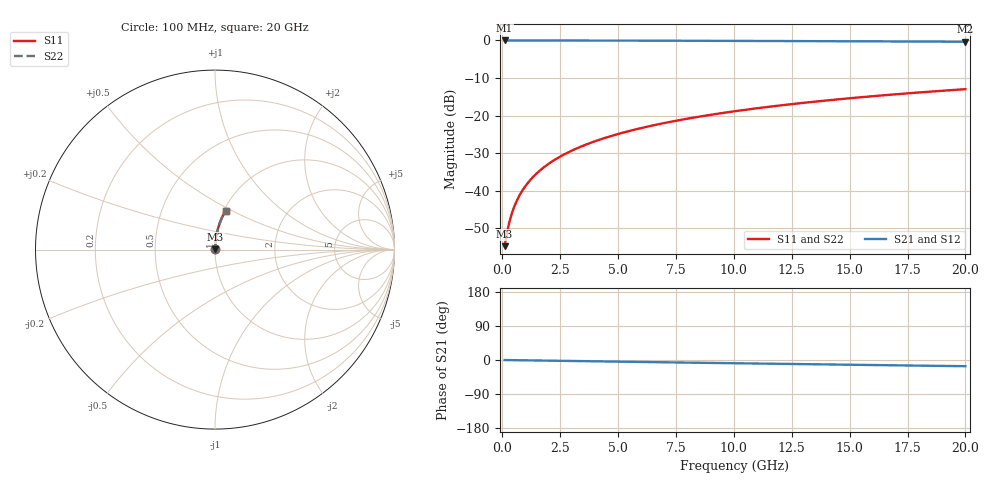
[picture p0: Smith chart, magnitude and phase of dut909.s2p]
! Touchstone file exported from HFSS 2024.1.0
!  File:  C:/UserFiles/LocalFiles/RDL_TSV_Batchsim/temp_RDL_top_909_1779935989.aedt
!  Generated:  10:43:10 AM May 28, 2026
!  Design:  RDL_top
!  Project:  temp_RDL_top_909_1779935989
!  Setup:  Setup1
!  Solution:  Sweep
! Variables:
!  dtsv = 10.80580581um
!  hbump = 3um
!  htsv = 87.32um
!  ldown = 100um
!  lrdl = 160.5um
!  p = 40
!  p1 = 51.88um
!  rhole = 1um
!  t = 450um
!  tdown = 3.915915916um
!  trdl = 4.17um
!  wdown = 15.38538539um
!  wrdl = 10.64um
# GHz S MA R 50.000000
! Terminal data exported
! Port[1] = Box2_T1
! Port[2] = Box2_T2
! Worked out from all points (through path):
!   200 points, 100 MHz to 20 GHz, reference 50 ohm
!   highest |S21| = -0.01 dB at 100 MHz (marker M1); lowest = -0.4 dB at 20 GHz (marker M2)
!   group delay of S21, straight-line fit = 2.27 ps
!   lowest |S11| = -54.8 dB at 100 MHz (marker M3), VSWR 1.00, Z = 50.1 + j0.116 ohm
!   |S11| at or under -10 dB: start of sweep to end of sweep
!   |S22| runs from -54.8 to -13.0 dB; largest |S21 - S12| = 5.1e-15
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0.1  0.00182 39.6  0.9986 -0.1  0.9986 -0.1  0.00182 39.6
! Gamma 0 0 0 0
! Port Impedance 50 0 50 0
0.2  0.002718 58.5  0.9986 -0.2  0.9986 -0.2  0.002718 58.5
0.3  0.003754 67.3  0.9985 -0.3  0.9985 -0.3  0.003754 67.3
0.4  0.004834 72.2  0.9985 -0.4  0.9985 -0.4  0.004834 72.2
0.5  0.005932 75.3  0.9985 -0.4  0.9985 -0.4  0.005932 75.3
0.6  0.007037 77.4  0.9984 -0.5  0.9984 -0.5  0.007037 77.4
0.8  0.009262 80.1  0.9984 -0.7  0.9984 -0.7  0.009262 80.1
1.1  0.01262 82.3  0.9983 -1.0  0.9983 -1.0  0.01262 82.3
1.5  0.01711 83.8  0.9981 -1.3  0.9981 -1.3  0.01711 83.8
1.8  0.02049 84.4  0.9979 -1.6  0.9979 -1.6  0.02049 84.4
2.1  0.02388 84.8  0.9977 -1.9  0.9977 -1.9  0.02388 84.8
2.7  0.03066 85.2  0.9972 -2.4  0.9972 -2.4  0.03066 85.2
3.5  0.03971 85.3  0.9964 -3.1  0.9964 -3.1  0.03971 85.3
4.2  0.04764 85.2  0.9956 -3.7  0.9956 -3.7  0.04764 85.2
5  0.05671 85.0  0.9945 -4.4  0.9945 -4.4  0.05671 85.0
5.9  0.06693 84.6  0.9931 -5.1  0.9931 -5.1  0.06693 84.6
6.8  0.07716 84.1  0.9916 -5.9  0.9916 -5.9  0.07716 84.1
8.3  0.09421 83.2  0.9888 -7.1  0.9888 -7.1  0.09421 83.2
10.1  0.1147 82.0  0.9851 -8.6  0.9851 -8.6  0.1147 82.0
13.4  0.1519 79.7  0.9776 -11.3  0.9776 -11.3  0.1519 79.7
16.7  0.1885 77.2  0.9693 -13.9  0.9693 -13.9  0.1885 77.2
20  0.2243 74.7  0.9601 -16.4  0.9601 -16.4  0.2243 74.6
